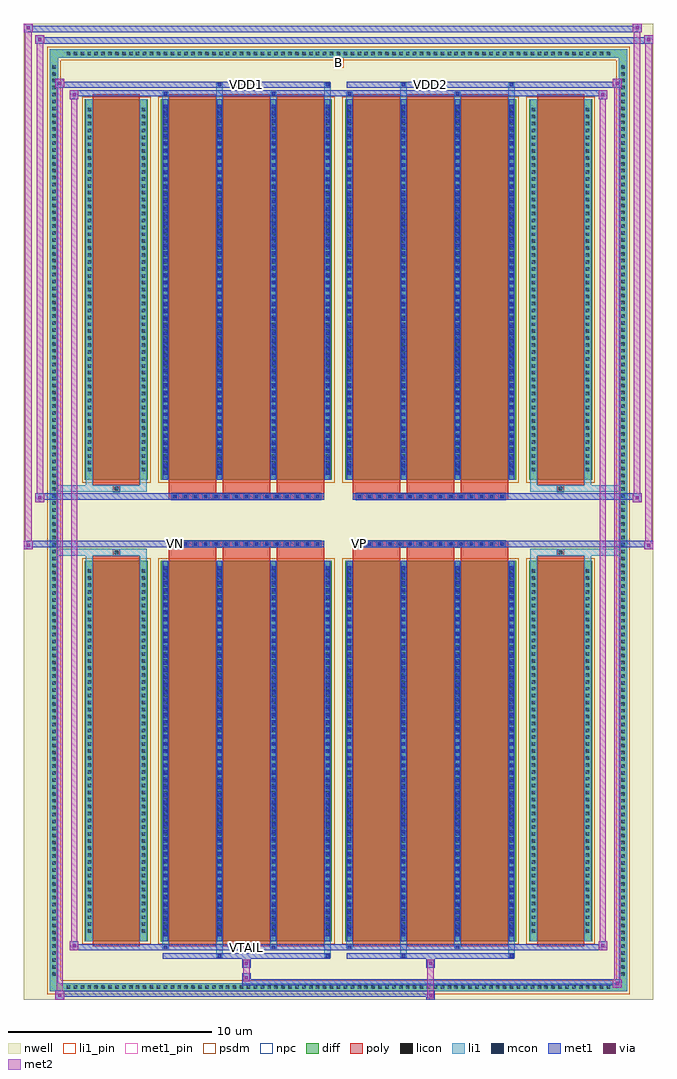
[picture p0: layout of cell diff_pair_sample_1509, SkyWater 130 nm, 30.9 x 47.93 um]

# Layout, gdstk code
import gdstk
lib = gdstk.Library(unit=1e-6, precision=5e-09)
def R(c, l, rs):  # rectangles x0, y0, x1, y1
    for r in rs: c.add(gdstk.rectangle(r[:2], r[2:], *l))
def A(c, l, x, y, w, h, nx, ny, dx, dy):  # array of equal rectangles
    R(c, l, [(x+i*dx, y+j*dy, x+i*dx+w, y+j*dy+h) for i in range(nx) for j in range(ny)])
def P(c, l, *ps):  # polygons
    for p in ps: c.add(gdstk.Polygon(p, *l))
nwell = (64, 20)
diff = (65, 20)
poly = (66, 20)
licon = (66, 44)
li1_pin = (67, 16)
li1 = (67, 20)
mcon = (67, 44)
met1_pin = (68, 16)
met1 = (68, 20)
via = (68, 44)
met2 = (69, 20)
psdm = (94, 20)
npc = (95, 20)

diff_pair_sample_1509 = lib.new_cell('diff_pair_sample_1509')
R(diff_pair_sample_1509, nwell, [(-15.45,-23.53,15.45,24.4), (-12.77,-21.72,-0.01,-0.8), (0.01,-21.72,12.77,-0.8), (-12.77,0.8,-0.01,21.72), (0.01,0.8,12.77,21.72)])
A(diff_pair_sample_1509, diff, -13.465, -23.13, 0.41, 0.41, 79, 2, 0.34, 45.85)
A(diff_pair_sample_1509, diff, -14.18, -22.475, 0.41, 0.41, 1, 132, 0, 0.34)
A(diff_pair_sample_1509, diff, 13.77, -22.475, 0.41, 0.41, 1, 132, 0, 0.34)
R(diff_pair_sample_1509, diff, [(-13.465,-23.13,13.465,-22.72), (-14.18,-22.475,-13.77,22.475), (13.77,-22.475,14.18,22.475), (-12.46,-20.675,-9.36,-1.985), (-8.72,-20.675,-0.32,-1.985), (0.32,-20.675,8.72,-1.985), (9.36,-20.675,12.46,-1.985), (-12.46,1.985,-9.36,20.675), (-8.72,1.985,-0.32,20.675), (0.32,1.985,8.72,20.675), (9.36,1.985,12.46,20.675), (-13.465,22.72,13.465,23.13)])
P(diff_pair_sample_1509, diff, [(14.18,23.13),(-14.18,23.13),(-14.18,-22.72),(-13.77,-22.72),(-13.77,22.72),(13.77,22.72),(13.77,-22.72),(-13.77,-22.72),(-14.18,-22.72),(-14.18,-23.13),(14.18,-23.13)])
A(diff_pair_sample_1509, poly, -8.33, -20.925, 2.32, 19.19, 3, 2, 2.65, 22.66)
A(diff_pair_sample_1509, poly, 0.71, -20.925, 2.32, 19.19, 3, 2, 2.65, 22.66)
A(diff_pair_sample_1509, poly, -8.33, -1.735, 2.32, 0.405, 3, 2, 2.65, 3.065)
A(diff_pair_sample_1509, poly, 0.71, -1.735, 2.32, 0.405, 3, 2, 2.65, 3.065)
A(diff_pair_sample_1509, poly, -8.185, -1.33, 0.33, 0.33, 15, 2, 0.5, 2.33)
A(diff_pair_sample_1509, poly, 0.855, -1.33, 0.33, 0.33, 15, 2, 0.5, 2.33)
R(diff_pair_sample_1509, poly, [(-12.07,-20.925,-9.75,-1.735), (9.75,-20.925,12.07,-1.735), (-11.075,-1.735,-10.745,-1.405), (-11.075,-1.735,-10.745,-1.405), (10.745,-1.735,11.075,-1.405), (10.745,-1.735,11.075,-1.405), (-8.33,-1.33,-0.71,-1), (0.71,-1.33,8.33,-1), (-8.33,1,-0.71,1.33), (0.71,1,8.33,1.33), (-11.075,1.405,-10.745,1.735), (-11.075,1.405,-10.745,1.735), (10.745,1.405,11.075,1.735), (10.745,1.405,11.075,1.735), (-12.07,1.735,-9.75,20.925), (9.75,1.735,12.07,20.925)])
A(diff_pair_sample_1509, licon, -13.345, -23.01, 0.17, 0.17, 79, 2, 0.34, 45.85)
A(diff_pair_sample_1509, licon, -14.06, -22.355, 0.17, 0.17, 1, 132, 0, 0.34)
A(diff_pair_sample_1509, licon, 13.89, -22.355, 0.17, 0.17, 1, 132, 0, 0.34)
A(diff_pair_sample_1509, licon, -12.32, -20.255, 0.17, 0.17, 1, 53, 0, 0.34)
A(diff_pair_sample_1509, licon, -9.67, -20.255, 0.17, 0.17, 1, 53, 0, 0.34)
A(diff_pair_sample_1509, licon, -8.58, -20.255, 0.17, 0.17, 4, 53, 2.65, 0.34)
A(diff_pair_sample_1509, licon, 0.46, -20.255, 0.17, 0.17, 4, 53, 2.65, 0.34)
A(diff_pair_sample_1509, licon, 9.5, -20.255, 0.17, 0.17, 1, 53, 0, 0.34)
A(diff_pair_sample_1509, licon, 12.15, -20.255, 0.17, 0.17, 1, 53, 0, 0.34)
A(diff_pair_sample_1509, licon, -8.105, -1.25, 0.17, 0.17, 15, 2, 0.5, 2.33)
A(diff_pair_sample_1509, licon, 0.935, -1.25, 0.17, 0.17, 15, 2, 0.5, 2.33)
A(diff_pair_sample_1509, licon, -12.32, 2.405, 0.17, 0.17, 1, 53, 0, 0.34)
A(diff_pair_sample_1509, licon, -9.67, 2.405, 0.17, 0.17, 1, 53, 0, 0.34)
A(diff_pair_sample_1509, licon, -8.58, 2.405, 0.17, 0.17, 4, 53, 2.65, 0.34)
A(diff_pair_sample_1509, licon, 0.46, 2.405, 0.17, 0.17, 4, 53, 2.65, 0.34)
A(diff_pair_sample_1509, licon, 9.5, 2.405, 0.17, 0.17, 1, 53, 0, 0.34)
A(diff_pair_sample_1509, licon, 12.15, 2.405, 0.17, 0.17, 1, 53, 0, 0.34)
R(diff_pair_sample_1509, licon, [(-10.995,-1.655,-10.825,-1.485), (10.825,-1.655,10.995,-1.485), (-10.995,1.485,-10.825,1.655), (10.825,1.485,10.995,1.655)])
R(diff_pair_sample_1509, li1_pin, [(-0.25,22.22,0.25,22.72)])
A(diff_pair_sample_1509, li1, -13.425, -23.09, 0.33, 0.33, 79, 2, 0.34, 45.85)
A(diff_pair_sample_1509, li1, -14.14, -22.435, 0.33, 0.33, 1, 132, 0, 0.34)
A(diff_pair_sample_1509, li1, 13.81, -22.435, 0.33, 0.33, 1, 132, 0, 0.34)
A(diff_pair_sample_1509, li1, -8.66, -20.675, 0.33, 18.69, 4, 2, 2.65, 22.66)
A(diff_pair_sample_1509, li1, 0.38, -20.675, 0.33, 18.69, 4, 2, 2.65, 22.66)
A(diff_pair_sample_1509, li1, -8.58, -20.415, 0.17, 0.17, 4, 51, 2.65, 0.36)
A(diff_pair_sample_1509, li1, -8.58, -20.415, 0.17, 18.17, 4, 2, 2.65, 22.66)
A(diff_pair_sample_1509, li1, 0.46, -20.415, 0.17, 0.17, 4, 51, 2.65, 0.36)
A(diff_pair_sample_1509, li1, 0.46, -20.415, 0.17, 18.17, 4, 2, 2.65, 22.66)
A(diff_pair_sample_1509, li1, -12.4, -20.335, 0.33, 0.33, 1, 53, 0, 0.34)
A(diff_pair_sample_1509, li1, -9.75, -20.335, 0.33, 0.33, 1, 53, 0, 0.34)
A(diff_pair_sample_1509, li1, -8.66, -20.335, 0.33, 0.33, 4, 53, 2.65, 0.34)
A(diff_pair_sample_1509, li1, 0.38, -20.335, 0.33, 0.33, 4, 53, 2.65, 0.34)
A(diff_pair_sample_1509, li1, 9.42, -20.335, 0.33, 0.33, 1, 53, 0, 0.34)
A(diff_pair_sample_1509, li1, 12.07, -20.335, 0.33, 0.33, 1, 53, 0, 0.34)
A(diff_pair_sample_1509, li1, -8.185, -1.33, 0.33, 0.33, 15, 2, 0.5, 2.33)
A(diff_pair_sample_1509, li1, 0.855, -1.33, 0.33, 0.33, 15, 2, 0.5, 2.33)
A(diff_pair_sample_1509, li1, -8.58, 2.245, 0.17, 0.17, 4, 51, 2.65, 0.36)
A(diff_pair_sample_1509, li1, 0.46, 2.245, 0.17, 0.17, 4, 51, 2.65, 0.36)
A(diff_pair_sample_1509, li1, -12.4, 2.325, 0.33, 0.33, 1, 53, 0, 0.34)
A(diff_pair_sample_1509, li1, -9.75, 2.325, 0.33, 0.33, 1, 53, 0, 0.34)
A(diff_pair_sample_1509, li1, -8.66, 2.325, 0.33, 0.33, 4, 53, 2.65, 0.34)
A(diff_pair_sample_1509, li1, 0.38, 2.325, 0.33, 0.33, 4, 53, 2.65, 0.34)
A(diff_pair_sample_1509, li1, 9.42, 2.325, 0.33, 0.33, 1, 53, 0, 0.34)
A(diff_pair_sample_1509, li1, 12.07, 2.325, 0.33, 0.33, 1, 53, 0, 0.34)
R(diff_pair_sample_1509, li1, [(-14.18,-23.13,-13.77,-22.72), (-14.18,-23.13,-13.77,-22.72), (-13.77,-23.13,13.77,-22.72), (13.77,-23.13,14.18,-22.72), (13.77,-23.13,14.18,-22.72), (-14.18,-22.72,-13.77,22.72), (13.77,-22.72,14.18,22.72), (-6.01,-21.48,-5.68,-20.675), (-5.93,-21.48,-5.76,-21.31), (-0.71,-21.48,-0.38,-20.675), (-0.63,-21.48,-0.46,-21.31), (3.03,-21.48,3.36,-20.675), (3.11,-21.48,3.28,-21.31), (8.33,-21.48,8.66,-20.675), (8.41,-21.48,8.58,-21.31), (-8.66,-21.05,-8.33,-20.675), (-8.58,-21.05,-8.41,-20.88), (-3.36,-21.05,-3.03,-20.675), (-3.28,-21.05,-3.11,-20.88), (0.38,-21.05,0.71,-20.675), (0.46,-21.05,0.63,-20.88), (5.68,-21.05,6.01,-20.675), (5.76,-21.05,5.93,-20.88), (-12.4,-20.675,-12.07,-1.985), (-9.75,-20.675,-9.42,-1.985), (9.42,-20.675,9.75,-1.985), (12.07,-20.675,12.4,-1.985), (-12.4,-1.985,-12.07,-1.405), (-9.75,-1.985,-9.42,-1.405), (9.42,-1.985,9.75,-1.405), (12.07,-1.985,12.4,-1.405), (-14.18,-1.735,-11.075,-1.405), (-12.4,-1.735,-11.075,-1.405), (-11.075,-1.735,-10.745,-1.405), (-10.745,-1.735,-9.42,-1.405), (9.42,-1.735,10.745,-1.405), (10.745,-1.735,11.075,-1.405), (10.745,-1.735,14.18,-1.405), (11.075,-1.735,12.4,-1.405), (-14.18,1.405,-11.075,1.735), (-12.4,1.405,-11.075,1.735), (-12.4,1.405,-12.07,1.985), (-11.075,1.405,-10.745,1.735), (-10.745,1.405,-9.42,1.735), (-9.75,1.405,-9.42,1.985), (9.42,1.405,10.745,1.735), (9.42,1.405,9.75,1.985), (10.745,1.405,11.075,1.735), (10.745,1.405,14.18,1.735), (11.075,1.405,12.4,1.735), (12.07,1.405,12.4,1.985), (-12.4,1.985,-12.07,20.675), (-9.75,1.985,-9.42,20.675), (9.42,1.985,9.75,20.675), (12.07,1.985,12.4,20.675), (-8.66,20.675,-8.33,21.05), (-6.01,20.675,-5.68,21.48), (-3.36,20.675,-3.03,21.05), (-0.71,20.675,-0.38,21.48), (0.38,20.675,0.71,21.05), (3.03,20.675,3.36,21.48), (5.68,20.675,6.01,21.05), (8.33,20.675,8.66,21.48), (-8.58,20.88,-8.41,21.05), (-3.28,20.88,-3.11,21.05), (0.46,20.88,0.63,21.05), (5.76,20.88,5.93,21.05), (-5.93,21.31,-5.76,21.48), (-0.63,21.31,-0.46,21.48), (3.11,21.31,3.28,21.48), (8.41,21.31,8.58,21.48), (-14.18,22.72,-13.77,23.13), (-14.18,22.72,-13.77,23.13), (-13.77,22.72,13.77,23.13), (13.77,22.72,14.18,23.13), (13.77,22.72,14.18,23.13)])
A(diff_pair_sample_1509, mcon, -8.58, -20.415, 0.17, 0.17, 4, 51, 2.65, 0.36)
A(diff_pair_sample_1509, mcon, 0.46, -20.415, 0.17, 0.17, 4, 51, 2.65, 0.36)
A(diff_pair_sample_1509, mcon, -8.105, -1.25, 0.17, 0.17, 15, 2, 0.5, 2.33)
A(diff_pair_sample_1509, mcon, 0.935, -1.25, 0.17, 0.17, 15, 2, 0.5, 2.33)
A(diff_pair_sample_1509, mcon, -8.58, 2.245, 0.17, 0.17, 4, 51, 2.65, 0.36)
A(diff_pair_sample_1509, mcon, 0.46, 2.245, 0.17, 0.17, 4, 51, 2.65, 0.36)
R(diff_pair_sample_1509, mcon, [(-5.93,-21.48,-5.76,-21.31), (-0.63,-21.48,-0.46,-21.31), (3.11,-21.48,3.28,-21.31), (8.41,-21.48,8.58,-21.31), (-8.58,-21.05,-8.41,-20.88), (-3.28,-21.05,-3.11,-20.88), (0.46,-21.05,0.63,-20.88), (5.76,-21.05,5.93,-20.88), (-8.58,20.88,-8.41,21.05), (-3.28,20.88,-3.11,21.05), (0.46,20.88,0.63,21.05), (5.76,20.88,5.93,21.05), (-5.93,21.31,-5.76,21.48), (-0.63,21.31,-0.46,21.48), (3.11,21.31,3.28,21.48), (8.41,21.31,8.58,21.48)])
R(diff_pair_sample_1509, met1_pin, [(-4.655,-21.09,-4.385,-20.82), (-8.155,-1.29,-7.885,-1.02), (0.885,-1.29,1.155,-1.02), (-4.655,21.27,-4.385,21.54), (4.385,21.27,4.655,21.54)])
A(diff_pair_sample_1509, met1, -8.64, -20.675, 0.29, 18.69, 4, 2, 2.65, 22.66)
A(diff_pair_sample_1509, met1, 0.4, -20.675, 0.29, 18.69, 4, 2, 2.65, 22.66)
A(diff_pair_sample_1509, met1, -8.64, -20.475, 0.29, 0.29, 4, 51, 2.65, 0.36)
A(diff_pair_sample_1509, met1, 0.4, -20.475, 0.29, 0.29, 4, 51, 2.65, 0.36)
A(diff_pair_sample_1509, met1, -8.165, -1.31, 0.29, 0.29, 15, 2, 0.5, 2.33)
A(diff_pair_sample_1509, met1, 0.875, -1.31, 0.29, 0.29, 15, 2, 0.5, 2.33)
A(diff_pair_sample_1509, met1, -8.64, 2.185, 0.29, 0.29, 4, 51, 2.65, 0.36)
A(diff_pair_sample_1509, met1, 0.4, 2.185, 0.29, 0.29, 4, 51, 2.65, 0.36)
R(diff_pair_sample_1509, met1, [(-13.91,-23.53,-13.48,-23.1), (4.305,-23.53,4.735,-23.1), (-13.91,-23.39,4.735,-23.1), (13.48,-22.96,13.91,-22.53), (-4.735,-22.82,13.91,-22.53), (-4.735,-22.68,-4.305,-22.25), (-4.735,-21.97,-4.305,-21.54), (4.305,-21.97,4.735,-21.54), (-8.64,-21.54,-0.4,-21.25), (-5.99,-21.54,-5.7,-21.25), (-0.69,-21.54,-0.4,-21.25), (0.4,-21.54,8.64,-21.25), (3.05,-21.54,3.34,-21.25), (8.35,-21.54,8.64,-21.25), (-13.2,-21.11,-12.77,-20.68), (-13.2,-21.11,-8.64,-20.82), (-8.64,-21.11,-8.35,-20.82), (-8.64,-21.11,-0.4,-20.82), (-3.34,-21.11,-3.05,-20.82), (-0.4,-21.11,0.4,-20.82), (0.4,-21.11,0.69,-20.82), (0.4,-21.11,8.64,-20.82), (5.7,-21.11,5.99,-20.82), (8.64,-21.11,13.2,-20.82), (12.77,-21.11,13.2,-20.68), (-15.45,-1.43,-15.02,-1), (15.02,-1.43,15.45,-1), (-15.45,-1.33,-0.71,-1), (-8.33,-1.33,-0.71,-1), (0.71,-1.33,8.33,-1), (0.71,-1.33,15.45,-1), (-14.88,0.9,-14.45,1.33), (14.45,0.9,14.88,1.33), (-14.88,1,-8.33,1.33), (-8.33,1,-0.71,1.33), (0.71,1,8.33,1.33), (8.33,1,14.88,1.33), (-13.2,20.68,-12.77,21.11), (12.77,20.68,13.2,21.11), (-13.2,20.82,-8.64,21.11), (-8.64,20.82,-8.35,21.11), (-8.64,20.82,-0.4,21.11), (-3.34,20.82,-3.05,21.11), (-0.4,20.82,0.4,21.11), (0.4,20.82,0.69,21.11), (0.4,20.82,8.64,21.11), (5.7,20.82,5.99,21.11), (8.64,20.82,13.2,21.11), (-13.91,21.25,-13.48,21.68), (-13.91,21.25,-8.64,21.54), (-8.64,21.25,-0.4,21.54), (-5.99,21.25,-5.7,21.54), (-0.69,21.25,-0.4,21.54), (0.4,21.25,8.64,21.54), (3.05,21.25,3.34,21.54), (8.35,21.25,8.64,21.54), (8.64,21.25,13.91,21.54), (13.48,21.25,13.91,21.68), (-14.88,23.4,-14.45,23.83), (-14.88,23.4,-12.77,23.73), (-12.77,23.4,12.77,23.73), (12.77,23.4,15.45,23.73), (15.02,23.4,15.45,23.83), (-15.45,23.97,-15.02,24.4), (-15.45,23.97,-12.77,24.3), (-12.77,23.97,12.77,24.3), (12.77,23.97,14.88,24.3), (14.45,23.97,14.88,24.4)])
R(diff_pair_sample_1509, via, [(-13.77,-23.39,-13.62,-23.24), (4.445,-23.39,4.595,-23.24), (13.62,-22.82,13.77,-22.67), (-4.595,-22.54,-4.445,-22.39), (-4.595,-21.83,-4.445,-21.68), (4.445,-21.83,4.595,-21.68), (-13.06,-20.97,-12.91,-20.82), (12.91,-20.97,13.06,-20.82), (-15.31,-1.29,-15.16,-1.14), (15.16,-1.29,15.31,-1.14), (-14.74,1.04,-14.59,1.19), (14.59,1.04,14.74,1.19), (-13.06,20.82,-12.91,20.97), (12.91,20.82,13.06,20.97), (-13.77,21.39,-13.62,21.54), (13.62,21.39,13.77,21.54), (-14.74,23.54,-14.59,23.69), (15.16,23.54,15.31,23.69), (-15.31,24.11,-15.16,24.26), (14.59,24.11,14.74,24.26)])
R(diff_pair_sample_1509, met2, [(-13.91,-23.53,-13.48,-23.1), (-13.84,-23.53,-13.55,21.68), (-13.55,-23.53,-13.48,-23.1), (-13.86,-23.48,-13.53,-23.15), (4.355,-23.48,4.685,-23.15), (4.355,-23.15,4.685,-21.92), (13.48,-22.96,13.91,-22.53), (13.55,-22.96,13.84,21.68), (13.84,-22.96,13.91,-22.53), (13.53,-22.91,13.86,-22.58), (-4.685,-22.63,-4.355,-22.3), (-4.685,-22.3,-4.355,-21.92), (-4.685,-21.92,-4.355,-21.59), (4.355,-21.92,4.685,-21.59), (-13.2,-21.11,-12.77,-20.68), (-13.13,-21.11,-12.84,21.11), (-12.84,-21.11,-12.77,-20.68), (12.77,-21.11,13.2,-20.68), (12.84,-21.11,13.13,21.11), (13.13,-21.11,13.2,-20.68), (-13.15,-21.06,-12.82,-20.73), (12.82,-21.06,13.15,-20.73), (-15.45,-1.43,-15.02,-1), (-15.4,-1.43,-15.07,24.4), (-15.07,-1.43,-15.02,-1), (15.02,-1.43,15.45,-1), (15.07,-1.43,15.4,23.83), (15.4,-1.43,15.45,-1), (-15.4,-1.38,-15.07,-1.05), (15.07,-1.38,15.4,-1.05), (-14.88,0.9,-14.45,1.33), (-14.83,0.9,-14.5,23.83), (-14.5,0.9,-14.45,1.33), (14.45,0.9,14.88,1.33), (14.5,0.9,14.83,24.4), (14.83,0.9,14.88,1.33), (-14.83,0.95,-14.5,1.28), (14.5,0.95,14.83,1.28), (-13.2,20.68,-12.77,21.11), (-12.84,20.68,-12.77,21.11), (12.77,20.68,13.2,21.11), (13.13,20.68,13.2,21.11), (-13.15,20.73,-12.82,21.06), (12.82,20.73,13.15,21.06), (-13.91,21.25,-13.48,21.68), (-13.55,21.25,-13.48,21.68), (13.48,21.25,13.91,21.68), (13.84,21.25,13.91,21.68), (-13.86,21.3,-13.53,21.63), (13.53,21.3,13.86,21.63), (-14.88,23.4,-14.45,23.83), (-14.5,23.4,-14.45,23.83), (15.02,23.4,15.45,23.83), (15.4,23.4,15.45,23.83), (-14.83,23.45,-14.5,23.78), (15.07,23.45,15.4,23.78), (-15.45,23.97,-15.02,24.4), (-15.07,23.97,-15.02,24.4), (14.45,23.97,14.88,24.4), (14.83,23.97,14.88,24.4), (-15.4,24.02,-15.07,24.35), (14.5,24.02,14.83,24.35)])
R(diff_pair_sample_1509, psdm, [(-12.59,-20.805,-9.23,-1.855), (-8.85,-20.805,-0.19,-1.855), (0.19,-20.805,8.85,-1.855), (9.23,-20.805,12.59,-1.855), (-12.59,1.855,-9.23,20.805), (-8.85,1.855,-0.19,20.805), (0.19,1.855,8.85,20.805), (9.23,1.855,12.59,20.805)])
P(diff_pair_sample_1509, psdm, [(14.31,23.26),(-14.31,23.26),(-14.31,-22.59),(-13.64,-22.59),(-13.64,22.59),(13.64,22.59),(13.64,-22.59),(-13.64,-22.59),(-14.31,-22.59),(-14.31,-23.26),(14.31,-23.26)])
A(diff_pair_sample_1509, npc, -8.205, -1.35, 0.37, 0.37, 15, 2, 0.5, 2.33)
A(diff_pair_sample_1509, npc, 0.835, -1.35, 0.37, 0.37, 15, 2, 0.5, 2.33)
R(diff_pair_sample_1509, npc, [(-11.095,-1.755,-10.725,-1.385), (10.725,-1.755,11.095,-1.385), (-8.205,-1.35,-7.335,-0.98), (-8.205,-1.35,-7.335,-0.98), (-7.705,-1.35,-6.835,-0.98), (-7.705,-1.35,-6.835,-0.98), (-7.205,-1.35,-6.335,-0.98), (-7.205,-1.35,-6.335,-0.98), (-6.705,-1.35,-5.835,-0.98), (-6.705,-1.35,-5.835,-0.98), (-6.205,-1.35,-5.335,-0.98), (-6.205,-1.35,-5.335,-0.98), (-5.705,-1.35,-4.835,-0.98), (-5.705,-1.35,-4.835,-0.98), (-5.205,-1.35,-4.335,-0.98), (-5.205,-1.35,-4.335,-0.98), (-4.705,-1.35,-3.835,-0.98), (-4.705,-1.35,-3.835,-0.98), (-4.205,-1.35,-3.335,-0.98), (-4.205,-1.35,-3.335,-0.98), (-3.705,-1.35,-2.835,-0.98), (-3.705,-1.35,-2.835,-0.98), (-3.205,-1.35,-2.335,-0.98), (-3.205,-1.35,-2.335,-0.98), (-2.705,-1.35,-1.835,-0.98), (-2.705,-1.35,-1.835,-0.98), (-2.205,-1.35,-1.335,-0.98), (-2.205,-1.35,-1.335,-0.98), (-1.705,-1.35,-0.835,-0.98), (-1.705,-1.35,-0.835,-0.98), (0.835,-1.35,1.705,-0.98), (0.835,-1.35,1.705,-0.98), (1.335,-1.35,2.205,-0.98), (1.335,-1.35,2.205,-0.98), (1.835,-1.35,2.705,-0.98), (1.835,-1.35,2.705,-0.98), (2.335,-1.35,3.205,-0.98), (2.335,-1.35,3.205,-0.98), (2.835,-1.35,3.705,-0.98), (2.835,-1.35,3.705,-0.98), (3.335,-1.35,4.205,-0.98), (3.335,-1.35,4.205,-0.98), (3.835,-1.35,4.705,-0.98), (3.835,-1.35,4.705,-0.98), (4.335,-1.35,5.205,-0.98), (4.335,-1.35,5.205,-0.98), (4.835,-1.35,5.705,-0.98), (4.835,-1.35,5.705,-0.98), (5.335,-1.35,6.205,-0.98), (5.335,-1.35,6.205,-0.98), (5.835,-1.35,6.705,-0.98), (5.835,-1.35,6.705,-0.98), (6.335,-1.35,7.205,-0.98), (6.335,-1.35,7.205,-0.98), (6.835,-1.35,7.705,-0.98), (6.835,-1.35,7.705,-0.98), (7.335,-1.35,8.205,-0.98), (7.335,-1.35,8.205,-0.98), (-8.205,0.98,-7.335,1.35), (-8.205,0.98,-7.335,1.35), (-7.705,0.98,-6.835,1.35), (-7.705,0.98,-6.835,1.35), (-7.205,0.98,-6.335,1.35), (-7.205,0.98,-6.335,1.35), (-6.705,0.98,-5.835,1.35), (-6.705,0.98,-5.835,1.35), (-6.205,0.98,-5.335,1.35), (-6.205,0.98,-5.335,1.35), (-5.705,0.98,-4.835,1.35), (-5.705,0.98,-4.835,1.35), (-5.205,0.98,-4.335,1.35), (-5.205,0.98,-4.335,1.35), (-4.705,0.98,-3.835,1.35), (-4.705,0.98,-3.835,1.35), (-4.205,0.98,-3.335,1.35), (-4.205,0.98,-3.335,1.35), (-3.705,0.98,-2.835,1.35), (-3.705,0.98,-2.835,1.35), (-3.205,0.98,-2.335,1.35), (-3.205,0.98,-2.335,1.35), (-2.705,0.98,-1.835,1.35), (-2.705,0.98,-1.835,1.35), (-2.205,0.98,-1.335,1.35), (-2.205,0.98,-1.335,1.35), (-1.705,0.98,-0.835,1.35), (-1.705,0.98,-0.835,1.35), (0.835,0.98,1.705,1.35), (0.835,0.98,1.705,1.35), (1.335,0.98,2.205,1.35), (1.335,0.98,2.205,1.35), (1.835,0.98,2.705,1.35), (1.835,0.98,2.705,1.35), (2.335,0.98,3.205,1.35), (2.335,0.98,3.205,1.35), (2.835,0.98,3.705,1.35), (2.835,0.98,3.705,1.35), (3.335,0.98,4.205,1.35), (3.335,0.98,4.205,1.35), (3.835,0.98,4.705,1.35), (3.835,0.98,4.705,1.35), (4.335,0.98,5.205,1.35), (4.335,0.98,5.205,1.35), (4.835,0.98,5.705,1.35), (4.835,0.98,5.705,1.35), (5.335,0.98,6.205,1.35), (5.335,0.98,6.205,1.35), (5.835,0.98,6.705,1.35), (5.835,0.98,6.705,1.35), (6.335,0.98,7.205,1.35), (6.335,0.98,7.205,1.35), (6.835,0.98,7.705,1.35), (6.835,0.98,7.705,1.35), (7.335,0.98,8.205,1.35), (7.335,0.98,8.205,1.35), (-11.095,1.385,-10.725,1.755), (10.725,1.385,11.095,1.755)])
diff_pair_sample_1509.add(gdstk.Label('VTAIL', (-4.52,-20.955), layer=68, texttype=5))
diff_pair_sample_1509.add(gdstk.Label('VN', (-8.02,-1.155), layer=68, texttype=5))
diff_pair_sample_1509.add(gdstk.Label('VP', (1.02,-1.155), layer=68, texttype=5))
diff_pair_sample_1509.add(gdstk.Label('B', (0,22.47), layer=67, texttype=5))
diff_pair_sample_1509.add(gdstk.Label('VDD2', (4.52,21.405), layer=68, texttype=5))
diff_pair_sample_1509.add(gdstk.Label('VDD1', (-4.52,21.405), layer=68, texttype=5))

lib.write_gds('diff_pair_sample_1509.gds')
